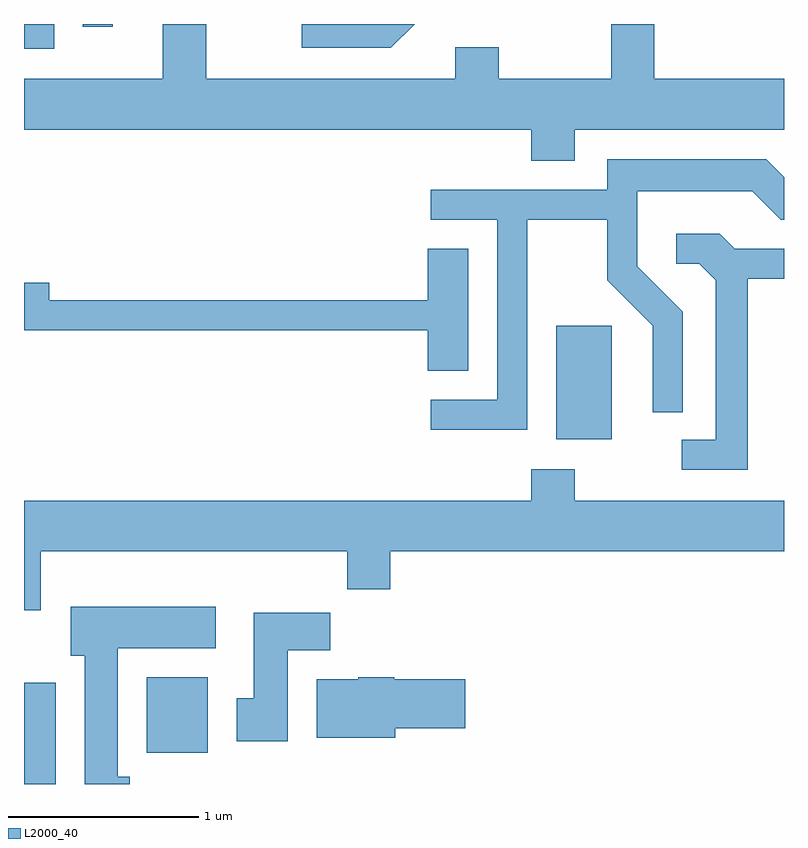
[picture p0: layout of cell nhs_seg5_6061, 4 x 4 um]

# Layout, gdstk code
import gdstk
lib = gdstk.Library(unit=1e-6, precision=1e-09)
def R(c, l, rs):  # rectangles x0, y0, x1, y1
    for r in rs: c.add(gdstk.rectangle(r[:2], r[2:], *l))
def P(c, l, *ps):  # polygons
    for p in ps: c.add(gdstk.Polygon(p, *l))
L2000_40 = (2000, 40)

nhs_seg5_6061 = lib.new_cell('nhs_seg5_6061')
R(nhs_seg5_6061, L2000_40, [(365.611,1400.072,365.779,1400.604), (366.256,1400.236,366.579,1400.634), (368.411,1401.886,368.704,1402.484), (365.611,1403.941,365.769,1404.072), (365.921,1404.058,366.079,1404.072)])
P(nhs_seg5_6061, L2000_40, [(368.281,1403.351),(368.509,1403.351),(368.509,1403.516),(369.611,1403.516),(369.611,1403.784),(368.929,1403.784),(368.929,1404.072),(368.701,1404.072),(368.701,1403.784),(368.109,1403.784),(368.109,1403.949),(367.881,1403.949),(367.881,1403.784),(366.569,1403.784),(366.569,1404.072),(366.341,1404.072),(366.341,1403.784),(365.611,1403.784),(365.611,1403.516),(368.281,1403.516)],
  [(367.667,1404.072),(367.073,1404.072),(367.073,1403.946),(367.542,1403.946)],
  [(368.259,1403.041),(368.681,1403.041),(368.681,1402.724),(368.921,1402.484),(368.921,1402.028),(369.079,1402.028),(369.079,1402.557),(368.839,1402.797),(368.839,1403.191),(369.444,1403.191),(369.594,1403.041),(369.611,1403.041),(369.611,1403.265),(369.517,1403.359),(368.681,1403.359),(368.681,1403.199),(367.753,1403.199),(367.753,1403.041),(368.101,1403.041),(368.101,1402.094),(367.753,1402.094),(367.753,1401.936),(368.259,1401.936)],
  [(369.419,1402.731),(369.611,1402.731),(369.611,1402.889),(369.352,1402.889),(369.272,1402.969),(369.043,1402.969),(369.043,1402.811),(369.164,1402.811),(369.251,1402.724),(369.251,1401.884),(369.073,1401.884),(369.073,1401.726),(369.419,1401.726)],
  [(367.949,1402.889),(367.736,1402.889),(367.736,1402.619),(365.744,1402.619),(365.744,1402.709),(365.611,1402.709),(365.611,1402.461),(367.736,1402.461),(367.736,1402.246),(367.949,1402.246)],
  [(365.699,1401.296),(367.311,1401.296),(367.311,1401.096),(367.539,1401.096),(367.539,1401.296),(369.611,1401.296),(369.611,1401.564),(368.509,1401.564),(368.509,1401.729),(368.281,1401.729),(368.281,1401.564),(365.611,1401.564),(365.611,1400.986),(365.699,1400.986)],
  [(366.168,1400.109),(366.104,1400.109),(366.104,1400.786),(366.619,1400.786),(366.619,1401.004),(365.856,1401.004),(365.856,1400.746),(365.931,1400.746),(365.931,1400.072),(366.168,1400.072)],
  [(366.999,1400.776),(367.224,1400.776),(367.224,1400.974),(366.821,1400.974),(366.821,1400.524),(366.731,1400.524),(366.731,1400.296),(366.999,1400.296)],
  [(367.564,1400.366),(367.934,1400.366),(367.934,1400.624),(367.56,1400.624),(367.56,1400.634),(367.37,1400.634),(367.37,1400.624),(367.151,1400.624),(367.151,1400.316),(367.564,1400.316)])

lib.write_gds('nhs_seg5_6061.gds')
